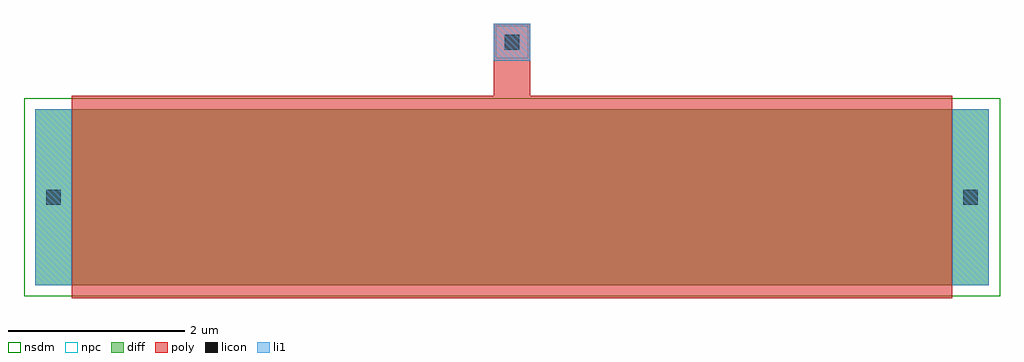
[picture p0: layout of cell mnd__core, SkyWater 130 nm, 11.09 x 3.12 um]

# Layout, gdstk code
import gdstk
lib = gdstk.Library(unit=1e-6, precision=1e-09)
def R(c, l, rs):  # rectangles x0, y0, x1, y1
    for r in rs: c.add(gdstk.rectangle(r[:2], r[2:], *l))
diff = (65, 20)
poly = (66, 20)
licon = (66, 44)
li1 = (67, 20)
nsdm = (93, 44)
npc = (95, 20)

mnd__core = lib.new_cell('mnd__core')
R(mnd__core, diff, [(0,0,10.84,2)])
R(mnd__core, poly, [(0.42,-0.15,10.42,2), (0.42,2,10.42,2.15), (0.42,2,10.42,2.15), (5.21,2.15,5.63,2.97)])
R(mnd__core, licon, [(0.125,0.915,0.295,1.085), (10.545,0.915,10.715,1.085), (5.335,2.675,5.505,2.845)])
R(mnd__core, li1, [(0,0,0.42,2), (10.42,0,10.84,2), (5.21,2.55,5.63,2.97)])
R(mnd__core, nsdm, [(-0.125,-0.125,10.965,2.125)])
R(mnd__core, npc, [(5.235,2.575,5.605,2.945)])

lib.write_gds('mnd__core.gds')
